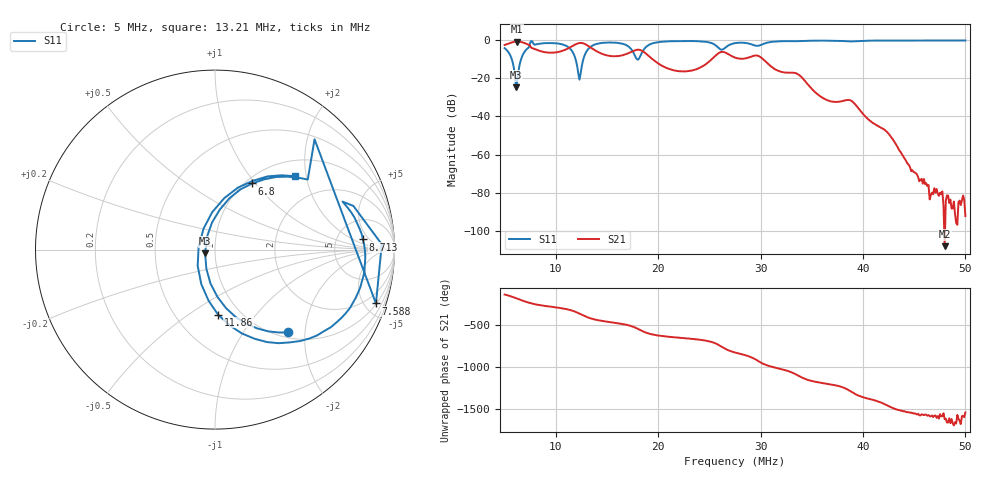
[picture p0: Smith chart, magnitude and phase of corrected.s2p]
! S11/S21 only; reverse parameters are placeholders. Device calibration unverified.
! [Saver CAL applied] C:\Users\aknya\MyProjects\rf-simulator\calibration2.cal | Ideal standards assumed | Input: NanoVNA F V2 profile | COM3 | 2026-09-08T12:05:01.7526867-04:00 | device calibration unverified
# HZ S RI R 50
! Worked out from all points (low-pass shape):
!   401 points, 5 MHz to 50 MHz, reference 50 ohm
!   highest |S21| = -0.70 dB at 6.237 MHz (marker M1); lowest = -108.1 dB at 47.98 MHz (marker M2)
!   |S21| within 3 dB of the highest: start of sweep to 7.568 MHz; 11.41 MHz to 13.36 MHz (1.948 MHz wide, 15.7 % of centre)
!   lowest |S11| = -24.6 dB at 6.125 MHz (marker M3), VSWR 1.12, Z = 44.8 - j1.83 ohm
!   |S11| at or under -10 dB: 5.698 MHz to 6.611 MHz (913.1 kHz wide, 14.8 % of centre); 11.93 MHz to 12.69 MHz (762.2 kHz wide, 6.19 % of centre); 17.92 MHz to 18.07 MHz (151.2 kHz wide, 0.84 % of centre)
!   S12 and S22 are empty: the file has one direction only
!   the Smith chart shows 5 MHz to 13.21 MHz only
!   S11 on the Smith chart (normalised r, x): 5 MHz: 1.10, -1.64; 6.8 MHz: 1.07, +0.96; 7.588 MHz: 1.05, -5.96; 8.713 MHz: 9.29, +3.30; 11.86 MHz: 0.79, -0.66; 13.21 MHz: 1.34, +1.72
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5000000  0.4089 -0.4614  -0.5144 -0.5433  0 0  0 0
6125000  -0.055 -0.0204  -0.9195 -0.045  0 0  0 0
6237500  -0.0455 0.0689  -0.9217 0.0415  0 0  0 0
6800000  0.2074 0.3685  -0.761 0.4146  0 0  0 0
7587500  0.8967 -0.3003  -0.342 0.5381  0 0  0 0
8712500  0.8239 0.0565  -0.0423 0.4956  0 0  0 0
1.18625e7  0.0171 -0.3625  0.7022 0.298  0 0  0 0
1.25375e7  -0.0156 0.2085  0.8127 -0.2171  0 0  0 0
1.32125e7  0.4452 0.4089  0.4399 -0.5358  0 0  0 0
1.56875e7  0.808 -0.3081  -0.128 -0.3571  0 0  0 0
1.715e7  0.2247 -0.626  -0.3683 -0.2815  0 0  0 0
1.79375e7  -0.3081 -0.05  -0.5597 -0.0136  0 0  0 0
1.8725e7  0.2429 0.5795  -0.3304 0.3233  0 0  0 0
2.0075e7  0.8516 0.2686  -0.0234 0.2366  0 0  0 0
2.5925e7  0.491 -0.3728  0.4412 -0.1345  0 0  0 0
2.75e7  0.7808 -0.3011  -0.0958 -0.3358  0 0  0 0
3.02e7  0.7243 -0.3009  -0.1728 0.2756  0 0  0 0
3.50375e7  0.7034 -0.6665  0.00209 -0.0516  0 0  0 0
4.2575e7  0.4422 -0.8714  0.00286 -0.00171  0 0  0 0
4.6625e7  0.2833 -0.9371  -7.3e-05 -4.58e-05  0 0  0 0
4.7975e7  0.2336 -0.9515  -3.94e-06 2.37e-07  0 0  0 0
5e7  0.1594 -0.9692  -5.22e-06 -2.38e-05  0 0  0 0
